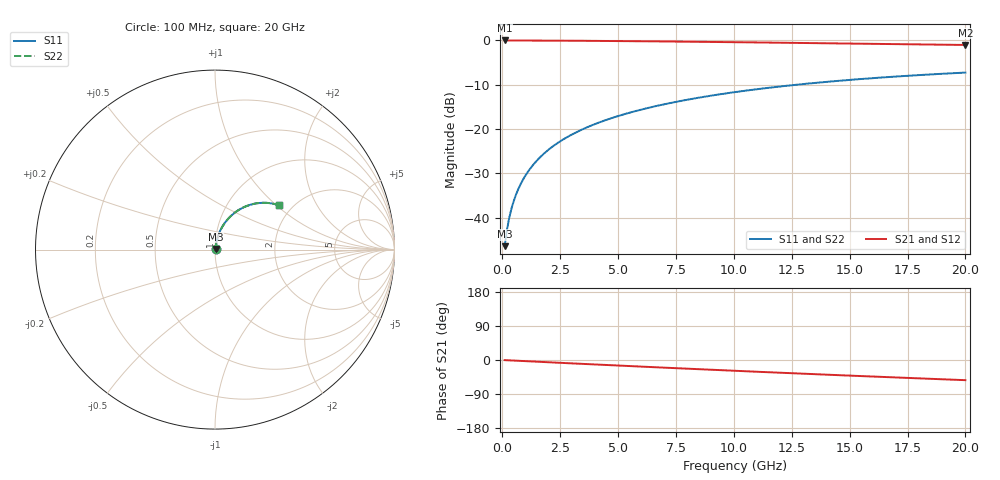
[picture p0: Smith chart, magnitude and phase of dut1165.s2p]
! Touchstone file exported from HFSS 2026.1.0
!  File:  C:/ffzhzh/LocalFiles/Ansys_Project_Files/temp_train_BSMRDL_1165_1783175873_55132.aedt
!  Generated:  10:39:16 PM Jul  4, 2026
!  Design:  BSMRDL
!  Project:  temp_train_BSMRDL_1165_1783175873_55132
! Variables:
!  h_bsmrdl = 5.85um
!  h_ox = 20um
!  h_rdl = 5um
!  h_sub = 80um
!  h_tmrdl = 5um
!  h_tsv = 80um
!  h_via = 3um
!  l_bsmrdl = 856.39um
!  l_sub = 1256.39um
!  l_tmrdl = 200um
!  m_sub = 200um
!  pitch = 36.72um
!  r_tsv = 6um
!  s_tmrdl = 10um
!  w_bsmrdl = 14.85um
!  w_sub = 500um
!  w_tmrdl = 12um
!  x_tsv_center1 = 206um
!  x_tsv_center2 = 1077.24um
!  x_tsv_center3 = 1289.24um
!  x_tsv_center4 = 2160.48um
!  x_tsv_center5 = 2372.48um
!  x_tsv_center6 = 3243.72um
# GHz S MA R 50.000000
! Terminal data exported
! Port[1] = BSM_RDL1_1_T1
! Port[2] = BSM_RDL1_1_T2
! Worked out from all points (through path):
!   200 points, 100 MHz to 20 GHz, reference 50 ohm
!   highest |S21| = -0.03 dB at 100 MHz (marker M1); lowest = -1.0 dB at 20 GHz (marker M2)
!   group delay of S21, straight-line fit = 7.38 ps
!   lowest |S11| = -46.4 dB at 100 MHz (marker M3), VSWR 1.01, Z = 50.4 + j0.315 ohm
!   |S11| at or under -10 dB: start of sweep to 12.74 GHz
!   |S22| runs from -46.4 to -7.3 dB; largest |S21 - S12| = 1e-14
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0.1  0.004763 41.1  0.9964 -0.3  0.9964 -0.3  0.004763 41.1
! Gamma 0 0 0 0
! Port Impedance 50 0 50 0
0.2  0.007239 58.4  0.9963 -0.6  0.9963 -0.6  0.007239 58.4
0.3  0.009959 66.2  0.9961 -0.9  0.9961 -0.9  0.009959 66.2
0.4  0.01274 70.5  0.9959 -1.2  0.9959 -1.2  0.01274 70.5
0.5  0.01555 73.2  0.9958 -1.5  0.9958 -1.5  0.01555 73.2
0.6  0.01839 75.0  0.9957 -1.8  0.9957 -1.8  0.01839 75.0
0.8  0.0241 77.2  0.9954 -2.4  0.9954 -2.4  0.0241 77.2
1.1  0.03272 78.7  0.9949 -3.3  0.9949 -3.3  0.03272 78.7
1.5  0.04421 79.1  0.9941 -4.5  0.9941 -4.5  0.04421 79.1
1.8  0.05278 78.9  0.9934 -5.4  0.9934 -5.4  0.05278 78.9
2.1  0.06129 78.5  0.9926 -6.3  0.9926 -6.3  0.06129 78.5
2.7  0.07812 77.4  0.9907 -8.0  0.9907 -8.0  0.07812 77.4
3.5  0.1001 75.5  0.9877 -10.4  0.9877 -10.4  0.1001 75.5
4.2  0.1189 73.7  0.9848 -12.4  0.9848 -12.4  0.1189 73.7
5  0.1398 71.7  0.9812 -14.6  0.9812 -14.6  0.1398 71.7
5.9  0.1628 69.3  0.9768 -17.2  0.9768 -17.2  0.1628 69.4
6.8  0.1852 67.0  0.972 -19.7  0.972 -19.7  0.1852 67.0
8.3  0.2211 63.2  0.9635 -23.8  0.9635 -23.8  0.2211 63.2
10.1  0.2617 58.6  0.9524 -28.6  0.9524 -28.6  0.2617 58.6
13.4  0.3288 50.4  0.9305 -37.2  0.9305 -37.2  0.3288 50.4
16.7  0.3857 42.5  0.9079 -45.4  0.9079 -45.4  0.3857 42.5
20  0.4326 34.9  0.8865 -53.2  0.8865 -53.2  0.4326 34.9
